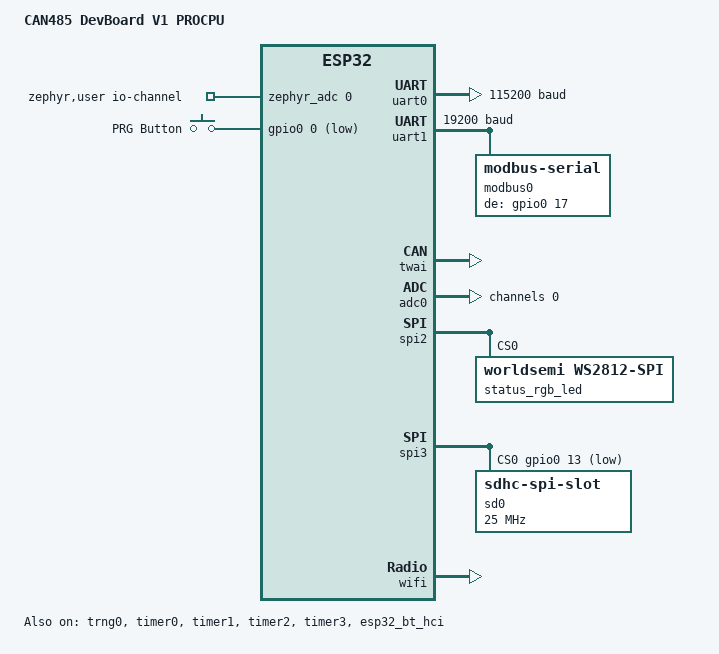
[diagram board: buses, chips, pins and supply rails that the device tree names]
/*
 * SPDX-FileCopyrightText: Copyright (c) 2026 Navimatix GmbH
 * SPDX-FileCopyrightText: Copyright (c) 2026 TiaC Systems
 * SPDX-License-Identifier: Apache-2.0
 */

/dts-v1/;

#include <mem.h>
#include <freq.h>

#include <espressif/esp32/esp32_d0wd_v3.dtsi>
#include <espressif/partitions_0x1000_amp_8M.dtsi>

#include "can485dbv1-pinctrl.dtsi"

#include <zephyr/dt-bindings/gpio/gpio.h>
#include <zephyr/dt-bindings/input/input-event-codes.h>
#include <zephyr/dt-bindings/led/led.h>
#include <zephyr/dt-bindings/led/worldsemi_ws2812c.h>

/ {
	model = "CAN485 DevBoard V1 PROCPU";
	compatible = "weact,can485dbv1", "espressif,esp32";

	chosen {
		zephyr,sram = &sram1;
		zephyr,flash = &flash0;
		zephyr,code-partition = &slot0_partition;
		zephyr,console = &zephyr_serial;
		zephyr,shell-uart = &zephyr_serial;
		zephyr,canbus = &zephyr_can;
		zephyr,bt-hci = &esp32_bt_hci;
	};

	aliases {
		sw0 = &button0;
		led-strip = &status_rgb_led;
		uart-0 = &zephyr_serial;
		watchdog0 = &wdt0;
	};

	zephyr,user {
		io-channels = <&zephyr_adc 0>;	/* SENSOR VP: VIN (1:12) */
	};

	buttons {
		compatible = "gpio-keys";

		button0: button_0 {
			gpios = <&gpio0 0 (GPIO_PULL_UP | GPIO_ACTIVE_LOW)>;
			label = "PRG Button";
			zephyr,code = <INPUT_KEY_0>;
		};
	};
};

&flash0 {
	reg = <0x0 DT_SIZE_M(8)>;
};

zephyr_serial: &uart0 {
	status = "okay";
	pinctrl-0 = <&uart0_default>;
	pinctrl-names = "default";
	current-speed = <115200>;
};

zephyr_rs485: &uart1 {
	status = "okay";
	pinctrl-0 = <&uart1_default>;
	pinctrl-names = "default";

	/* Modbus RTU typically defaults (widely used). */
	current-speed = <19200>;
	data-bits = <8>; /* 8 (for RTU), 7 (for ASCII) */
	parity = "even"; /* Even (typical default), Odd, or None */
	stop-bits = "1"; /* 1 (if parity is used), 2 (if parity is none) */

	modbus0 {
		compatible = "zephyr,modbus-serial";
		de-gpios = <&gpio0 17 GPIO_ACTIVE_HIGH>; /* RS485_DE */
	};
};

zephyr_can: &twai {
	status = "okay";
	pinctrl-0 = <&twai_default>;
	pinctrl-names = "default";

	can-transceiver {
		max-bitrate = <1000000>;
	};
};

zephyr_adc: &adc0 {
	status = "okay";

	#address-cells = <1>;
	#size-cells = <0>;

	channel@0 {
		reg = <0>;
		zephyr,gain = "ADC_GAIN_1";
		zephyr,reference = "ADC_REF_INTERNAL";
		zephyr,acquisition-time = <ADC_ACQ_TIME_DEFAULT>;
		zephyr,resolution = <12>;
	};
};

&spi2 {
	status = "okay";
	pinctrl-0 = <&spim2_default>;
	pinctrl-names = "default";

	#address-cells = <1>;
	#size-cells = <0>;

	line-idle-low;

	status_rgb_led: ws2812@0 {
		compatible = "worldsemi,ws2812-spi";
		status = "okay";

		reg = <0>;
		spi-max-frequency = <WS2812C_SPI_FREQ>;

		chain-length = <1>;
		color-mapping = <LED_COLOR_ID_GREEN>,
				<LED_COLOR_ID_RED>,
				<LED_COLOR_ID_BLUE>;
		spi-one-frame = <WS2812C_ONE_FRAME>;
		spi-zero-frame = <WS2812C_ZERO_FRAME>;
		reset-delay = <250>;
	};
};

&spi3 {
	status = "okay";
	pinctrl-0 = <&spim3_default>;
	pinctrl-names = "default";

	#address-cells = <1>;
	#size-cells = <0>;

	dma-enabled;
	cs-gpios = <&gpio0 13 GPIO_ACTIVE_LOW>;

	sd0: sd@0 {
		compatible = "zephyr,sdhc-spi-slot";
		status = "okay";

		reg = <0>;
		spi-max-frequency = <DT_FREQ_M(25)>;

		mmc {
			compatible = "zephyr,sdmmc-disk";
			status = "okay";
			disk-name = "SD";
		};
	};
};

&gpio0 {
	status = "okay";
};

&trng0 {
	status = "okay";
};

&timer0 {
	status = "okay";

	counter0: counter {
		status = "okay";
	};
};

&timer1 {
	status = "okay";

	counter1: counter {
		status = "okay";
	};
};

&timer2 {
	status = "okay";

	counter2: counter {
		status = "okay";
	};
};

&timer3 {
	status = "okay";

	counter3: counter {
		status = "okay";
	};
};

&esp32_bt_hci {
	status = "okay";
};

&wifi {
	status = "okay";
};
